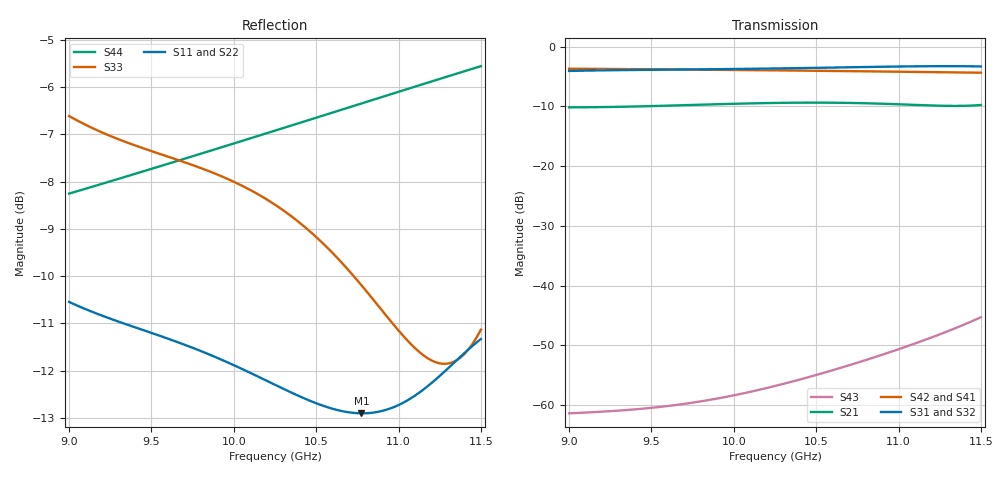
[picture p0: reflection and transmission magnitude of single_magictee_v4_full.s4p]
! Generated from PyAEDT SolutionData; AEDT ExportNetworkData workaround
# GHz S MA R 50
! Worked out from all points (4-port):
!   101 points, 9 GHz to 11.5 GHz, reference 50 ohm
!   strongest paths, dB at 9 GHz, 9.625 GHz, 10.25 GHz, 10.88 GHz, 11.5 GHz:
!     S31: -4.1, -3.8, -3.7, -3.4, -3.3
!     S32: -4.1, -3.9, -3.7, -3.4, -3.4
!     S42: -3.7, -3.8, -4.0, -4.2, -4.4
!     S41: -3.7, -3.9, -4.0, -4.2, -4.5
!     S21: -10.2, -9.9, -9.4, -9.5, -9.8
!     S43: -61.4, -60.1, -56.8, -51.8, -45.3
!   lowest |S11| = -12.9 dB at 10.78 GHz (marker M1), VSWR 1.59, Z = 32.3 + j6.06 ohm
!   |S11| at or under -10 dB: start of sweep to end of sweep
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9  0.2969 -15.2  0.3103 -94.2  0.626 -29.0  0.6509 46.1
   0.3103 -94.2  0.2951 -14.8  0.6244 -29.0  0.6533 -134.0
   0.626 -29.0  0.6244 -29.0  0.4672 177.8  0.0008524 -120.9
   0.6509 46.1  0.6533 -134.0  0.0008524 -120.9  0.3867 -124.9
9.4  0.2791 -62.4  0.3154 -148.2  0.6376 -99.7  0.645 0.8
     0.3154 -148.2  0.2773 -62.0  0.6358 -99.8  0.6476 -179.3
     0.6376 -99.7  0.6358 -99.8  0.435 89.1  0.0009201 170.2
     0.645 0.8  0.6476 -179.3  0.0009201 170.2  0.4058 -167.1
9.875  0.2602 -116.1  0.3287 150.9  0.6471 179.7  0.6368 -51.0
       0.3287 150.9  0.2584 -115.5  0.6449 179.7  0.6398 128.9
       0.6471 179.7  0.6449 179.7  0.4068 -11.1  0.001118 94.1
       0.6368 -51.0  0.6398 128.9  0.001118 94.1  0.4302 143.9
10.35  0.238 -165.2  0.339 91.8  0.6594 101.3  0.6273 -101.2
       0.339 91.8  0.2362 -164.3  0.6567 101.2  0.6309 78.6
       0.6594 101.3  0.6567 101.2  0.3658 -108.5  0.001566 18.1
       0.6273 -101.2  0.6309 78.6  0.001566 18.1  0.4566 96.0
10.775  0.2263 156.8  0.3362 40.7  0.6742 31.1  0.6174 -145.1
        0.3362 40.7  0.2245 158.1  0.6707 31.1  0.6218 34.6
        0.6742 31.1  0.6707 31.1  0.3092 160.9  0.002319 -53.6
        0.6174 -145.1  0.6218 34.6  0.002319 -53.6  0.4818 53.5
11.1  0.2363 129.8  0.3253 4.2  0.6839 -23.7  0.6088 -178.2
      0.3253 4.2  0.2342 131.4  0.6796 -23.7  0.6143 1.4
      0.6839 -23.7  0.6796 -23.7  0.2653 82.8  0.003275 -111.9
      0.6088 -178.2  0.6143 1.4  0.003275 -111.9  0.5019 21.2
11.5  0.2713 89.7  0.3246 -34.6  0.6823 -94.8  0.5962 141.4
      0.3246 -34.6  0.2667 91.6  0.6763 -94.9  0.605 -39.2
      0.6823 -94.8  0.6763 -94.9  0.2775 -27.4  0.005431 170.9
      0.5962 141.4  0.605 -39.2  0.005431 170.9  0.5276 -18.6
